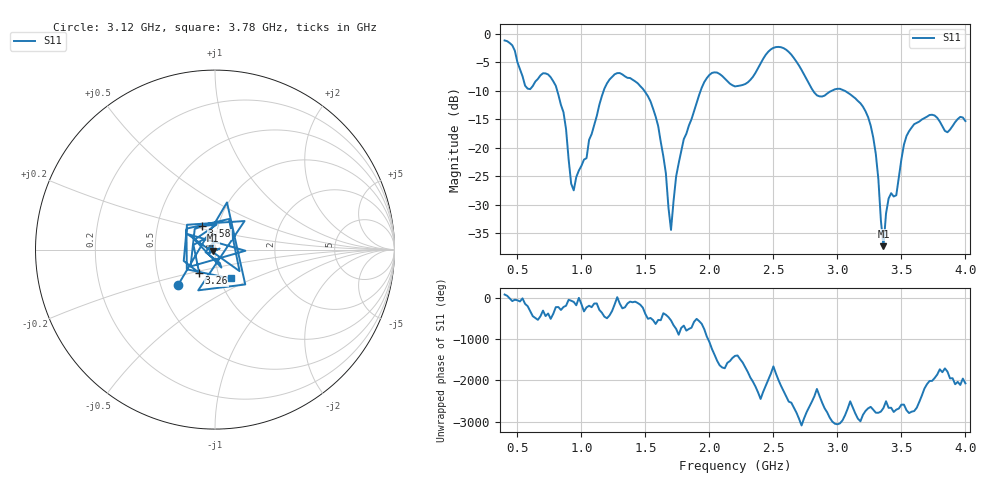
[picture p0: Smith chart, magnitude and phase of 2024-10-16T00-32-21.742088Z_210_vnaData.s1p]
! Created with skrf (http://scikit-rf.org).
# Hz S RI R 50.0
!freq ReS11 ImS11
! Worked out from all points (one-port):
!   181 points, 400 MHz to 4 GHz, reference 50 ohm
!   lowest |S11| = -37.3 dB at 3.36 GHz (marker M1), VSWR 1.03, Z = 48.8 - j0.633 ohm
!   |S11| at or under -10 dB: 811 MHz to 1.174 GHz (363.1 MHz wide, 36.6 % of centre); 1.491 GHz to 1.932 GHz (440.8 MHz wide, 25.8 % of centre); 3.056 GHz to end of sweep (the widest 3 of 4)
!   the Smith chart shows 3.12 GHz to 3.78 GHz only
!   S11 on the Smith chart (normalised r, x): 3.12 GHz: 0.62, -0.26; 3.26 GHz: 0.81, -0.22; 3.58 GHz: 0.84, +0.22; 3.78 GHz: 1.12, -0.37
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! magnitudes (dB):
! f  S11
! 400 MHz  -1.2
! 560 MHz  -9.1
! 740 MHz  -7.1
! 860 MHz  -13.8
! 940 MHz  -27.5
! 1.18 GHz  -9.6
! 1.3 GHz  -6.9
! 1.56 GHz  -13.2
! 1.66 GHz  -24.5
! 1.7 GHz  -34.4
! 1.76 GHz  -22.7
! 1.98 GHz  -7.8
! 2.2 GHz  -9.2
! 2.5 GHz  -2.5
! 2.66 GHz  -4.3
! 2.84 GHz  -10.8
! 3.1 GHz  -10.6
! 3.12 GHz  -11.0
! 3.26 GHz  -16.1
! 3.3 GHz  -21.1
! 3.36 GHz  -37.3
! 3.4 GHz  -28.9
! 3.46 GHz  -28.3
! 3.56 GHz  -17.1
! 3.58 GHz  -16.5
! 3.78 GHz  -14.8
! 3.86 GHz  -17.3
! 4 GHz  -15.3
